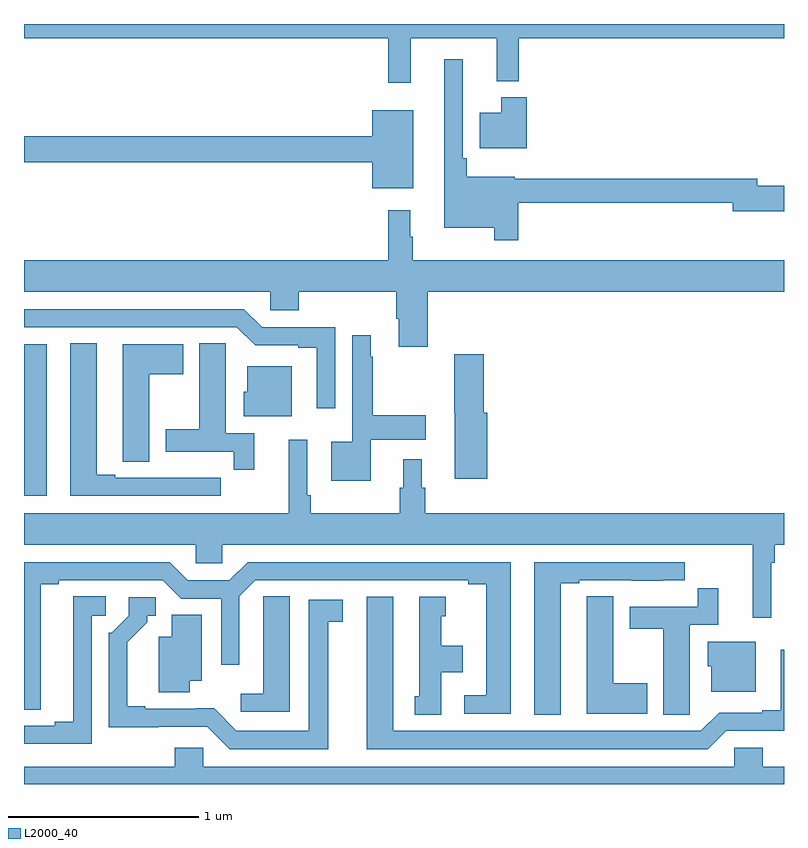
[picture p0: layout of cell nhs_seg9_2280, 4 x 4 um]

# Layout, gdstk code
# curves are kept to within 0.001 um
import gdstk
lib = gdstk.Library(unit=1e-6, precision=1e-09)
def R(c, l, rs):  # rectangles x0, y0, x1, y1
    for r in rs: c.add(gdstk.rectangle(r[:2], r[2:], *l))
def P(c, l, *ps):  # polygons
    for p in ps: c.add(gdstk.Polygon(p, *l))
L2000_40 = (2000, 40)

nhs_seg9_2280 = lib.new_cell('nhs_seg9_2280')
R(nhs_seg9_2280, L2000_40, [(241,1190.016,241.12,1190.814)])
P(nhs_seg9_2280, L2000_40, [(243.035,1192.424),(243.488,1192.424),(243.488,1192.199),(243.605,1192.199),(243.605,1192.424),(245,1192.424),(245,1192.5),(241,1192.5),(241,1192.424),(242.917,1192.424),(242.917,1192.191),(243.035,1192.191)],
  [(243.602,1191.558),(244.73,1191.558),(244.73,1191.515),(245,1191.515),(245,1191.65),(244.858,1191.65),(244.858,1191.686),(243.583,1191.686),(243.583,1191.697),(243.329,1191.697),(243.329,1191.793),(243.309,1191.793),(243.309,1192.315),(243.212,1192.315),(243.212,1191.428),(243.474,1191.428),(243.474,1191.363),(243.602,1191.363)],
  [(243.647,1192.114),(243.512,1192.114),(243.512,1192.033),(243.398,1192.033),(243.398,1191.845),(243.647,1191.845)],
  [(243.049,1192.045),(242.834,1192.045),(242.834,1191.908),(241,1191.908),(241,1191.772),(242.834,1191.772),(242.834,1191.635),(243.049,1191.635)],
  [(243.125,1191.092),(245,1191.092),(245,1191.256),(243.046,1191.256),(243.046,1191.38),(243.034,1191.38),(243.034,1191.52),(242.917,1191.52),(242.917,1191.256),(241,1191.256),(241,1191.092),(242.295,1191.092),(242.295,1190.994),(242.447,1190.994),(242.447,1191.092),(242.96,1191.092),(242.96,1190.95),(242.972,1190.95),(242.972,1190.802),(243.125,1190.802)],
  [(242.637,1190.904),(242.253,1190.904),(242.157,1191),(241,1191),(241,1190.904),(242.121,1190.904),(242.217,1190.808),(242.444,1190.808),(242.444,1190.796),(242.54,1190.796),(242.54,1190.478),(242.637,1190.478)],
  [(242.824,1190.312),(243.115,1190.312),(243.115,1190.442),(242.836,1190.442),(242.836,1190.75),(242.824,1190.75),(242.824,1190.863),(242.727,1190.863),(242.727,1190.302),(242.618,1190.302),(242.618,1190.096),(242.824,1190.096)],
  [(242.035,1190.112),(241.922,1190.112),(241.922,1190.113),(241.756,1190.113),(241.756,1190.112),(241.48,1190.112),(241.48,1190.127),(241.384,1190.127),(241.384,1190.819),(241.244,1190.819),(241.244,1190.016),(242.035,1190.016)],
  [(242.213,1190.346),(242.062,1190.346),(242.062,1190.708),(242.061,1190.708),(242.061,1190.819),(241.922,1190.819),(241.922,1190.367),(241.745,1190.367),(241.745,1190.25),(242.104,1190.25),(242.104,1190.154),(242.213,1190.154)],
  [(241.66,1190.656),(241.837,1190.656),(241.837,1190.815),(241.52,1190.815),(241.52,1190.305),(241.521,1190.305),(241.521,1190.197),(241.66,1190.197)],
  [(243.437,1190.454),(243.419,1190.454),(243.419,1190.761),(243.265,1190.761),(243.265,1190.454),(243.266,1190.454),(243.266,1190.106),(243.437,1190.106)],
  [(242.41,1190.698),(242.174,1190.698),(242.174,1190.565),(242.156,1190.565),(242.156,1190.435),(242.41,1190.435)],
  [(244.932,1189.664),(244.952,1189.664),(244.952,1189.76),(245,1189.76),(245,1189.924),(243.113,1189.924),(243.113,1190.058),(243.094,1190.058),(243.094,1190.209),(242.996,1190.209),(242.996,1190.058),(242.977,1190.058),(242.977,1189.924),(242.51,1189.924),(242.51,1190.02),(242.49,1190.02),(242.49,1190.311),(242.393,1190.311),(242.393,1189.924),(241,1189.924),(241,1189.76),(241.905,1189.76),(241.905,1189.662),(242.043,1189.662),(242.043,1189.76),(244.835,1189.76),(244.835,1189.374),(244.932,1189.374)],
  [(243.562,1189.668),(242.177,1189.668),(242.081,1189.572),(241.863,1189.572),(241.767,1189.668),(241,1189.668),(241,1188.892),(241.087,1188.892),(241.087,1189.552),(241.183,1189.552),(241.183,1189.572),(241.731,1189.572),(241.827,1189.476),(242.037,1189.476),(242.037,1189.128),(242.133,1189.128),(242.133,1189.488),(242.217,1189.572),(243.338,1189.572),(243.338,1189.552),(243.434,1189.552),(243.434,1188.966),(243.318,1188.966),(243.318,1188.87),(243.562,1188.87)],
  [(243.826,1189.557),(243.922,1189.557),(243.922,1189.572),(244.198,1189.572),(244.198,1189.571),(244.364,1189.571),(244.364,1189.572),(244.477,1189.572),(244.477,1189.668),(243.686,1189.668),(243.686,1188.865),(243.826,1188.865)],
  [(244.503,1188.976),(244.504,1188.976),(244.504,1189.338),(244.655,1189.338),(244.655,1189.531),(244.546,1189.531),(244.546,1189.434),(244.187,1189.434),(244.187,1189.318),(244.364,1189.318),(244.364,1188.865),(244.503,1188.865)],
  [(241.356,1189.386),(241.429,1189.386),(241.429,1189.487),(241.259,1189.487),(241.259,1188.827),(241.163,1188.827),(241.163,1188.807),(241,1188.807),(241,1188.711),(241.356,1188.711)],
  [(242.398,1189.487),(242.259,1189.487),(242.259,1189.379),(242.258,1189.379),(242.258,1188.976),(242.142,1188.976),(242.142,1188.879),(242.398,1188.879)],
  [(244.279,1189.029),(244.102,1189.029),(244.102,1189.487),(243.963,1189.487),(243.963,1189.379),(243.962,1189.379),(243.962,1188.869),(244.279,1188.869)],
  [(243.196,1189.088),(243.31,1189.088),(243.31,1189.228),(243.196,1189.228),(243.196,1189.383),(243.22,1189.383),(243.22,1189.486),(243.08,1189.486),(243.08,1188.963),(243.056,1188.963),(243.056,1188.865),(243.196,1188.865)],
  [(244.695,1188.78),(245,1188.78),(245,1189.207),(244.982,1189.207),(244.982,1188.889),(244.886,1188.889),(244.886,1188.876),(244.659,1188.876),(244.563,1188.78),(242.944,1188.78),(242.944,1189.486),(242.804,1189.486),(242.804,1188.684),(244.599,1188.684)],
  [(242.602,1189.354),(242.677,1189.354),(242.677,1189.47),(242.498,1189.47),(242.498,1188.78),(242.118,1188.78),(242,1188.898),(241.639,1188.897),(241.639,1188.91),(241.543,1188.91),(241.543,1189.246),(241.648,1189.351),(241.648,1189.386),(241.693,1189.386),(241.693,1189.482),(241.551,1189.482),(241.551,1189.386),(241.461,1189.296),(241.446,1189.296),(241.446,1188.8),(241.965,1188.801),(242.082,1188.684),(242.602,1188.684)],
  [(241.873,1189.043),(241.936,1189.043),(241.936,1189.391),(241.778,1189.391),(241.778,1189.276),(241.709,1189.276),(241.709,1188.982),(241.873,1188.982)],
  [(244.852,1189.249),(244.598,1189.249),(244.598,1189.119),(244.616,1189.119),(244.616,1188.986),(244.852,1188.986)],
  [(245,1188.592),(244.889,1188.592),(244.889,1188.69),(244.737,1188.69),(244.737,1188.592),(241.944,1188.592),(241.944,1188.69),(241.793,1188.69),(241.793,1188.592),(241,1188.592),(241,1188.5),(245,1188.5)])

lib.write_gds('nhs_seg9_2280.gds')
